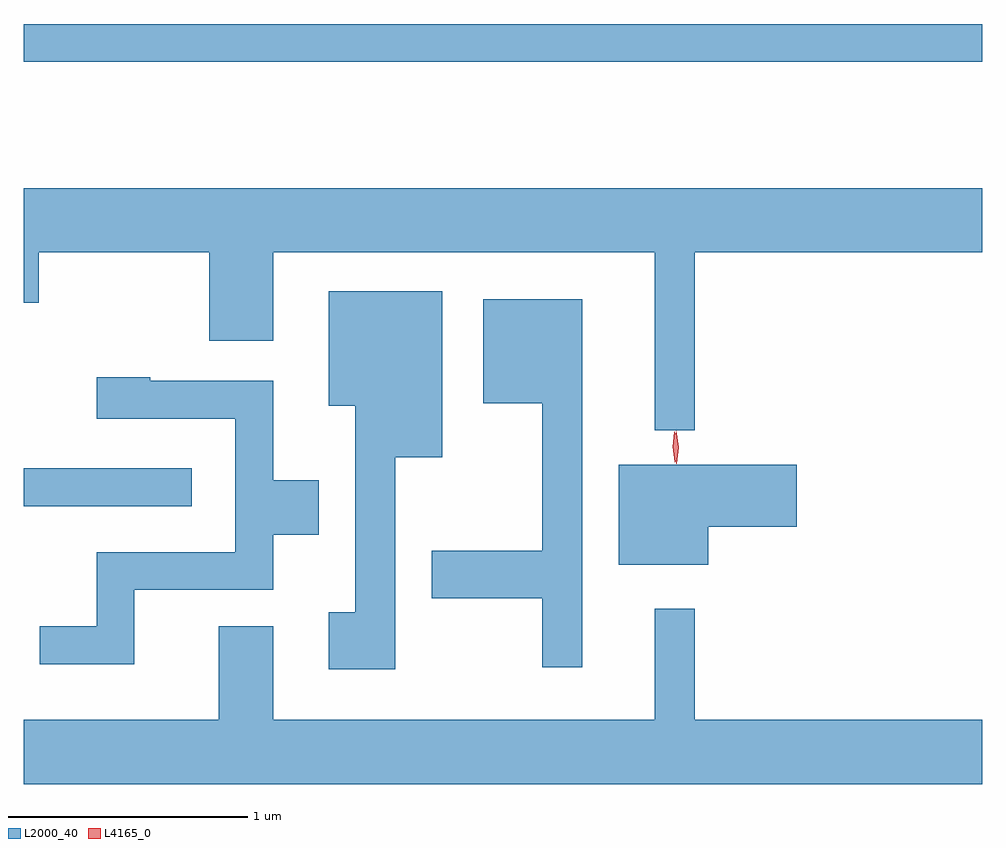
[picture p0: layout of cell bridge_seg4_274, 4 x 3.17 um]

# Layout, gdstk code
import gdstk
lib = gdstk.Library(unit=1e-6, precision=1e-09)
def R(c, l, rs):  # rectangles x0, y0, x1, y1
    for r in rs: c.add(gdstk.rectangle(r[:2], r[2:], *l))
def P(c, l, *ps):  # polygons
    for p in ps: c.add(gdstk.Polygon(p, *l))
L2000_40 = (2000, 40)
L4165_0 = (4165, 0)

bridge_seg4_274 = lib.new_cell('bridge_seg4_274')
R(bridge_seg4_274, L2000_40, [(517.888,1384.696,518.588,1384.854), (517.888,1386.551,521.888,1386.709)])
P(bridge_seg4_274, L2000_40, [(520.689,1385.756),(521.888,1385.756),(521.888,1386.024),(517.888,1386.024),(517.888,1385.546),(517.949,1385.546),(517.949,1385.756),(518.661,1385.756),(518.661,1385.386),(518.929,1385.386),(518.929,1385.756),(520.521,1385.756),(520.521,1385.013),(520.689,1385.013)],
  [(519.439,1384.901),(519.634,1384.901),(519.634,1385.594),(519.161,1385.594),(519.161,1385.116),(519.271,1385.116),(519.271,1384.254),(519.161,1384.254),(519.161,1384.016),(519.439,1384.016)],
  [(520.219,1385.559),(519.806,1385.559),(519.806,1385.126),(520.051,1385.126),(520.051,1384.509),(519.591,1384.509),(519.591,1384.311),(520.051,1384.311),(520.051,1384.023),(520.219,1384.023)],
  [(518.349,1384.346),(518.929,1384.346),(518.929,1384.576),(519.119,1384.576),(519.119,1384.804),(518.929,1384.804),(518.929,1385.219),(518.415,1385.219),(518.415,1385.234),(518.191,1385.234),(518.191,1385.061),(518.771,1385.061),(518.771,1384.504),(518.191,1384.504),(518.191,1384.194),(517.953,1384.194),(517.953,1384.036),(518.349,1384.036)],
  [(520.744,1384.611),(521.114,1384.611),(521.114,1384.869),(520.371,1384.869),(520.371,1384.451),(520.744,1384.451)],
  [(521.888,1383.804),(520.689,1383.804),(520.689,1384.268),(520.521,1384.268),(520.521,1383.804),(518.929,1383.804),(518.929,1384.194),(518.701,1384.194),(518.701,1383.804),(517.888,1383.804),(517.888,1383.536),(521.888,1383.536)])
P(bridge_seg4_274, L4165_0, [(520.612,1384.874),(520.602,1384.942),(520.611,1385.01),(520.612,1385.01),(520.612,1385.01),(520.622,1384.942),(520.613,1384.874),(520.613,1384.874)],
  [(520.606,1384.88),(520.606,1384.881),(520.596,1384.944),(520.604,1385.006),(520.605,1385.007),(520.605,1385.006),(520.615,1384.944),(520.607,1384.881)])

lib.write_gds('bridge_seg4_274.gds')
